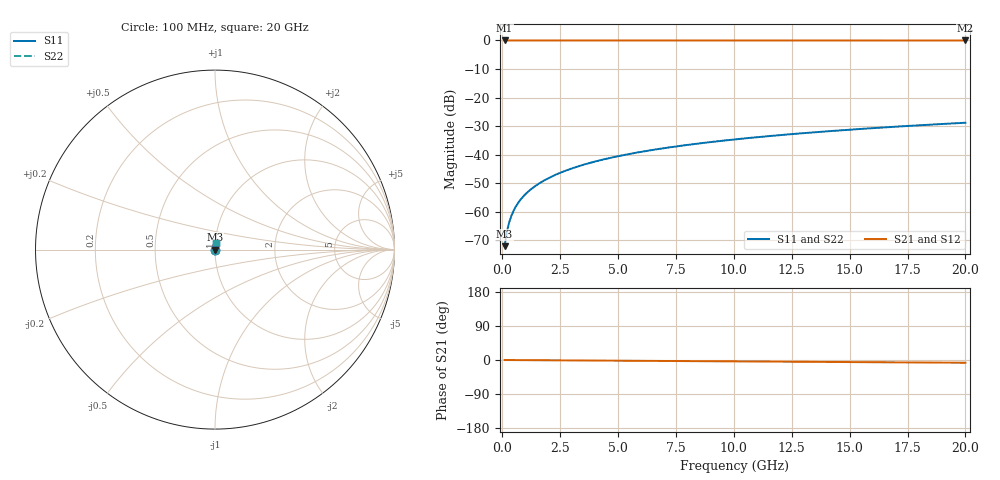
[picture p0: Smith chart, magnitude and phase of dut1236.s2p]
! Touchstone file exported from HFSS 2026.1.0
!  File:  C:/ffzhzh/LocalFiles/Ansys_Project_Files/temp_train_TSV_1236_1783193360_18472.aedt
!  Generated:  03:31:02 AM Jul  5, 2026
!  Design:  TSV
!  Project:  temp_train_TSV_1236_1783193360_18472
! Variables:
!  h_bsmrdl = 2um
!  h_ox = 20um
!  h_rdl = 5um
!  h_sub = 64.73um
!  h_tmrdl = 5um
!  h_tsv = 64.73um
!  h_via = 3um
!  l_bsmrdl = 300um
!  l_sub = 417.96um
!  l_tmrdl = 200um
!  m_sub = 200um
!  pitch = 51.29um
!  r_tsv = 8.98um
!  s_tmrdl = 10um
!  w_bsmrdl = 18um
!  w_sub = 500um
!  w_tmrdl = 12um
!  x_tsv_center1 = 206um
!  x_tsv_center2 = 524um
!  x_tsv_center3 = 736um
!  x_tsv_center4 = 1054um
!  x_tsv_center5 = 1266um
!  x_tsv_center6 = 1584um
# GHz S MA R 50.000000
! Terminal data exported
! Port[1] = TSV1_1_T1
! Port[2] = TSV1_1_T2
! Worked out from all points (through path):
!   200 points, 100 MHz to 20 GHz, reference 50 ohm
!   highest |S21| = 0.00 dB at 100 MHz (marker M1); lowest = 0.0 dB at 20 GHz (marker M2)
!   group delay of S21, straight-line fit = 1.01 ps
!   lowest |S11| = -72.0 dB at 100 MHz (marker M3), VSWR 1.00, Z = 50 + j0.0217 ohm
!   |S11| at or under -10 dB: start of sweep to end of sweep
!   |S22| runs from -72.0 to -28.8 dB; largest |S21 - S12| = 3.6e-15
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0.1  0.0002509 59.9  0.9999 -0.0  0.9999 -0.0  0.0002509 59.9
! Gamma 0 0 0 0
! Port Impedance 50 0 50 0
0.2  0.0004526 72.6  0.9999 -0.1  0.9999 -0.1  0.0004526 72.6
0.3  0.0006606 76.9  0.9999 -0.1  0.9999 -0.1  0.0006606 76.9
0.4  0.0008669 78.8  0.9998 -0.2  0.9998 -0.2  0.0008669 78.8
0.5  0.00107 79.9  0.9998 -0.2  0.9998 -0.2  0.00107 79.9
0.6  0.001269 80.6  0.9998 -0.2  0.9998 -0.2  0.001269 80.6
0.7  0.001465 81.1  0.9998 -0.3  0.9998 -0.3  0.001465 81.1
0.8  0.001658 81.4  0.9998 -0.3  0.9998 -0.3  0.001658 81.4
1  0.002038 82.0  0.9997 -0.4  0.9997 -0.4  0.002038 82.0
1.4  0.002785 82.9  0.9997 -0.5  0.9997 -0.5  0.002785 82.9
1.7  0.003342 83.4  0.9996 -0.6  0.9996 -0.6  0.003342 83.4
2  0.003897 83.8  0.9996 -0.7  0.9996 -0.7  0.003897 83.8
2.7  0.005193 84.4  0.9996 -1.0  0.9996 -1.0  0.005193 84.4
3.5  0.006669 84.7  0.9995 -1.3  0.9995 -1.3  0.006669 84.7
4.2  0.007956 84.7  0.9995 -1.5  0.9995 -1.5  0.007956 84.7
5  0.00942 84.7  0.9994 -1.8  0.9994 -1.8  0.00942 84.7
6.8  0.01269 84.5  0.9993 -2.5  0.9993 -2.5  0.01269 84.5
8.3  0.0154 84.2  0.9991 -3.0  0.9991 -3.0  0.0154 84.2
10.1  0.01864 83.8  0.999 -3.7  0.999 -3.7  0.01864 83.8
13.4  0.02456 83.0  0.9988 -4.9  0.9988 -4.9  0.02456 83.0
16.7  0.03044 82.0  0.9985 -6.1  0.9985 -6.1  0.03044 82.0
20  0.03628 80.9  0.9982 -7.3  0.9982 -7.3  0.03628 80.9
